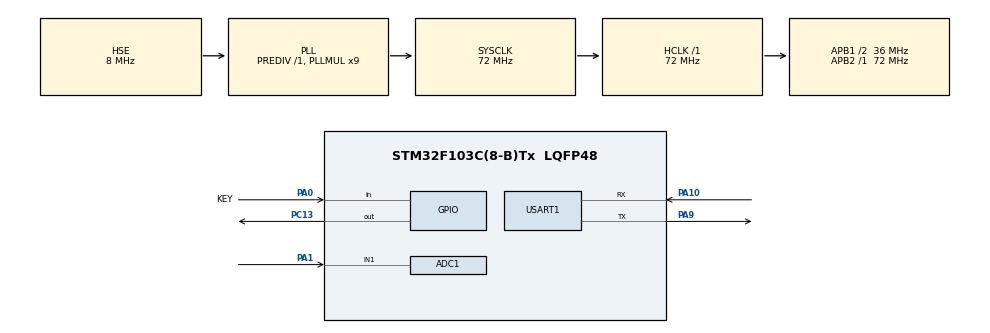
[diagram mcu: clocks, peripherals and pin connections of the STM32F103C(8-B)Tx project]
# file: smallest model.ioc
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ADC1.Channel-1\#ChannelRegularConversion=ADC_CHANNEL_1
ADC1.NbrOfConversion=1
ADC1.NbrOfConversionFlag=1
ADC1.Rank-1\#ChannelRegularConversion=1
ADC1.SamplingTime-1\#ChannelRegularConversion=ADC_SAMPLETIME_71CYCLES_5
ADC1.master=1
Mcu.Family=STM32F1
Mcu.Name=STM32F103C(8-B)Tx
Mcu.Package=LQFP48
NVIC.PriorityGroup=NVIC_PRIORITYGROUP_4
NVIC.TIM2_IRQn=true\:0\:0\:false\:false\:true\:true\:true\:true
NVIC.USART1_IRQn=true\:0\:0\:false\:false\:true\:true\:true\:true
PA0-WKUP.GPIO_Label=KEY
PA0-WKUP.GPIO_PuPd=GPIO_PULLUP
PA0-WKUP.Signal=GPIO_Input
PA1.Signal=ADCx_IN1
PA10.Mode=Asynchronous
PA10.Signal=USART1_RX
PA13.Mode=Serial_Wire
PA13.Signal=SYS_JTMS-SWDIO
PA14.Mode=Serial_Wire
PA14.Signal=SYS_JTCK-SWCLK
PA9.Mode=Asynchronous
PA9.Signal=USART1_TX
PC13-TAMPER-RTC.GPIO_ModeDefaultOutputPP=GPIO_MODE_OUTPUT_PP
PC13-TAMPER-RTC.GPIO_PuPd=GPIO_NOPULL
PC13-TAMPER-RTC.PinState=GPIO_PIN_SET
PC13-TAMPER-RTC.Signal=GPIO_Output
PD0-OSC_IN.Mode=HSE-External-Oscillator
PD0-OSC_IN.Signal=RCC_OSC_IN
PD1-OSC_OUT.Mode=HSE-External-Oscillator
PD1-OSC_OUT.Signal=RCC_OSC_OUT
ProjectManager.HeapSize=0x200
ProjectManager.StackSize=0x400
ProjectManager.TargetToolchain=MDK-ARM V5.32
RCC.ADCPresc=RCC_ADCPCLK2_DIV6
RCC.AHBFreq_Value=72000000
RCC.APB1CLKDivider=RCC_HCLK_DIV2
RCC.APB1Freq_Value=36000000
RCC.APB1TimFreq_Value=72000000
RCC.APB2Freq_Value=72000000
RCC.APB2TimFreq_Value=72000000
RCC.HCLKFreq_Value=72000000
RCC.PLLMUL=RCC_PLL_MUL9
RCC.PLLSourceVirtual=RCC_PLLSOURCE_HSE
RCC.SYSCLKFreq_VALUE=72000000
RCC.SYSCLKSource=RCC_SYSCLKSOURCE_PLLCLK
RCC.USBFreq_Value=72000000
SH.ADCx_IN1.0=ADC1_IN1,IN1
TIM2.AutoReloadPreload=TIM_AUTORELOAD_PRELOAD_ENABLE
TIM2.Period=9999
TIM2.Prescaler=71
USART1.VirtualMode=VM_ASYNC
VP_TIM2_VS_ClockSourceINT.Mode=Internal
board=custom

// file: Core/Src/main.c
/* USER CODE BEGIN Header */
/**
  ******************************************************************************
  * @file           : main.c
  * @brief          : Main program body
  ******************************************************************************
  * @attention
  *
  * Copyright (c) 2026 STMicroelectronics.
  * All rights reserved.
  *
  * This software is licensed under terms that can be found in the LICENSE file
  * in the root directory of this software component.
  * If no LICENSE file comes with this software, it is provided AS-IS.
  *
  ******************************************************************************
  */
/* USER CODE END Header */
#include "main.h"
#include "adc.h"
#include "tim.h"
#include "usart.h"
#include "gpio.h"

/* USER CODE BEGIN Includes */
#include <stdio.h>
#include <stdio.h>
#include <string.h>
/* USER CODE END Includes */

/* USER CODE BEGIN PV */
volatile uint8_t key_event = 0; //一次有效按下事件
volatile uint8_t tick_500 = 0; //500ms心跳标志

uint8_t key_state = 1; //消抖后的稳定状态； 1 = 松开  0 = 按下
uint8_t low_cnt = 0; //连续读到低的次数
uint8_t high_cnt = 0; //连续读到高的次数
uint8_t tick_cnt = 0; //10ms计数，数到50 = 500ms

volatile uint8_t rx_byte;  //中断每次只往这里放一个字节
char  line_buf[64];  //拼一行的缓冲区
volatile uint8_t line_len = 0; //当前收了多少个字符
volatile uint8_t line_ready = 0; //一整行收完的标志
volatile uint32_t rx_count = 0; //一共收了多少个字节（调试用）
/* USER CODE END PV */

void SystemClock_Config(void);

/* USER CODE BEGIN 0 */
int fputc(int ch, FILE *f)
{
    HAL_UART_Transmit(&huart1, (uint8_t *)&ch, 1, 0xFFFF);
    return ch;
}
/* USER CODE END 0 */

int main(void)
{

  /* MCU Configuration--------------------------------------------------------*/

  /* Reset of all peripherals, Initializes the Flash interface and the Systick. */
  HAL_Init();

  /* Configure the system clock */
  SystemClock_Config();

  /* Initialize all configured peripherals */
  MX_GPIO_Init();
  MX_USART1_UART_Init();
  MX_TIM2_Init();
  MX_ADC1_Init();
  /* USER CODE BEGIN 2 */
HAL_TIM_Base_Start_IT(&htim2); //启动定时器2
HAL_UART_Receive_IT(&huart1, &rx_byte, 1); //启动第一次接收
  /* USER CODE END 2 */

  /* Infinite loop */
  while (1)
  {

    /* USER CODE BEGIN 3 */
		if(key_event)
		{
		   key_event = 0;
		   HAL_GPIO_TogglePin(GPIOC, GPIO_PIN_13);
			printf("key pressed @ %lu ms\r\n", HAL_GetTick());
		}

		if(tick_500)
		{
			uint32_t mv;
		  tick_500 = 0;

			uint16_t raw = 0;

			HAL_ADC_Start(&hadc1);  //启动转换
			if(HAL_ADC_PollForConversion(&hadc1, 10) == HAL_OK)				//等它转完，最多10ms
			{
				raw = (uint16_t)HAL_ADC_GetValue(&hadc1); //取结果（0-4095）
			}
			HAL_ADC_Stop(&hadc1);

			mv = (uint32_t)((uint64_t)raw * 3300 / 4096);//换成毫伏
			printf ("raw = %u %lu.%03lu V\r\n", raw, mv / 1000, mv % 1000);
		}

	if (line_ready)
{
    line_ready = 0;

    if (strcmp(line_buf, "led on") == 0)
    {
        HAL_GPIO_WritePin(GPIOC, GPIO_PIN_13, GPIO_PIN_RESET);   // ??? = ?
        printf("LED ON\r\n");
    }
    else if (strcmp(line_buf, "led off") == 0)
    {
        HAL_GPIO_WritePin(GPIOC, GPIO_PIN_13, GPIO_PIN_SET);     // ??? = ?
        printf("LED OFF\r\n");
    }
    else
    {
        printf("unknown: <%s> len=%d\r\n", line_buf, (int)strlen(line_buf));
    }
}

  /* USER CODE END 3 */
}
}
void SystemClock_Config(void)
{
  RCC_OscInitTypeDef RCC_OscInitStruct = {0};
  RCC_ClkInitTypeDef RCC_ClkInitStruct = {0};
  RCC_PeriphCLKInitTypeDef PeriphClkInit = {0};

  /** Initializes the RCC Oscillators according to the specified parameters
  * in the RCC_OscInitTypeDef structure.
  */
  RCC_OscInitStruct.OscillatorType = RCC_OSCILLATORTYPE_HSE;
  RCC_OscInitStruct.HSEState = RCC_HSE_ON;
  RCC_OscInitStruct.HSEPredivValue = RCC_HSE_PREDIV_DIV1;
  RCC_OscInitStruct.HSIState = RCC_HSI_ON;
  RCC_OscInitStruct.PLL.PLLState = RCC_PLL_ON;
  RCC_OscInitStruct.PLL.PLLSource = RCC_PLLSOURCE_HSE;
  RCC_OscInitStruct.PLL.PLLMUL = RCC_PLL_MUL9;
  if (HAL_RCC_OscConfig(&RCC_OscInitStruct) != HAL_OK)
  {
    Error_Handler();
  }

  /** Initializes the CPU, AHB and APB buses clocks
  */
  RCC_ClkInitStruct.ClockType = RCC_CLOCKTYPE_HCLK|RCC_CLOCKTYPE_SYSCLK
                              |RCC_CLOCKTYPE_PCLK1|RCC_CLOCKTYPE_PCLK2;
  RCC_ClkInitStruct.SYSCLKSource = RCC_SYSCLKSOURCE_PLLCLK;
  RCC_ClkInitStruct.AHBCLKDivider = RCC_SYSCLK_DIV1;
  RCC_ClkInitStruct.APB1CLKDivider = RCC_HCLK_DIV2;
  RCC_ClkInitStruct.APB2CLKDivider = RCC_HCLK_DIV1;

  if (HAL_RCC_ClockConfig(&RCC_ClkInitStruct, FLASH_LATENCY_2) != HAL_OK)
  {
    Error_Handler();
  }
  PeriphClkInit.PeriphClockSelection = RCC_PERIPHCLK_ADC;
  PeriphClkInit.AdcClockSelection = RCC_ADCPCLK2_DIV6;
  if (HAL_RCCEx_PeriphCLKConfig(&PeriphClkInit) != HAL_OK)
  {
    Error_Handler();
  }
}

/* USER CODE BEGIN 4 */
void HAL_TIM_PeriodElapsedCallback(TIM_HandleTypeDef *htim)
{
     if(htim->Instance != TIM2) return; //判断是不是我们所设置的定时器
	   uint8_t raw = HAL_GPIO_ReadPin(KEY_GPIO_Port, KEY_Pin); //读取按钮的状态

	   if(raw == GPIO_PIN_RESET) //读到低
		 {
			 high_cnt = 0;
			 if (++low_cnt >= 2)				 //连续2次低（20ms）
			 {
				 low_cnt = 0;
				 if(key_state != 0)
				 {
           key_state = 0;
           key_event = 1;
				 }
			 }
		 }
		 else			 //读到高
{
        low_cnt = 0;
        if (++high_cnt >= 2)                     // 连续两次高才认松开
        {
            high_cnt = 0;
            key_state = 1;
        }
}

if (++tick_cnt >= 50)                        // 50 ? 10ms = 500ms
    {
        tick_cnt = 0;
        tick_500 = 1;
    }
}

void HAL_UART_RxCpltCallback(UART_HandleTypeDef *huart)
{
     if(huart->Instance != USART1)return;

	   rx_count++;
	   if (rx_byte == '\r' || rx_byte == '\n')
{
    if (line_len > 0)                    // ????(\r\n ?? \n ???????)
    {
        line_buf[line_len] = '\0';
        line_ready = 1;
        line_len = 0;
    }
}
else
{
    if (line_len < sizeof(line_buf) - 1)
    {
        line_buf[line_len++] = rx_byte;
    }
}
		 HAL_UART_Receive_IT(&huart1, &rx_byte, 1);
}
/* USER CODE END 4 */

void Error_Handler(void)
{
  __disable_irq();
  while (1)
  {
  }
}
